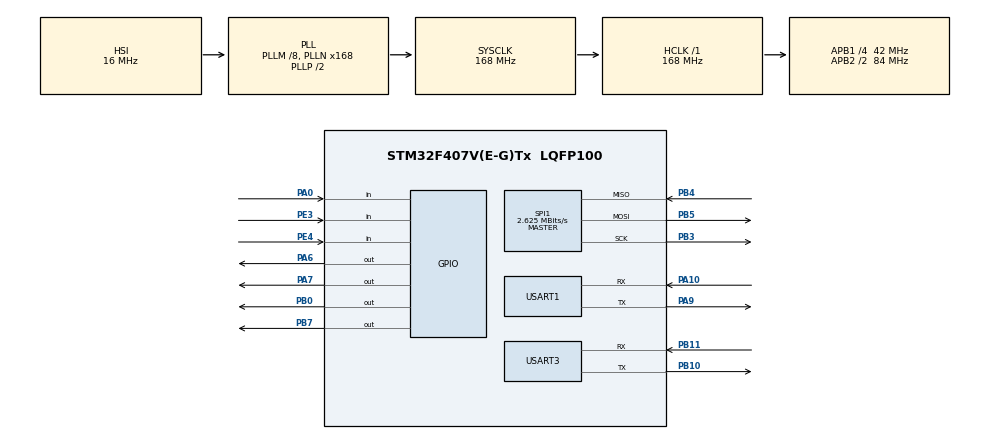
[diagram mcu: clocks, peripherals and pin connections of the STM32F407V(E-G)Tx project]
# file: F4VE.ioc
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Mcu.Family=STM32F4
Mcu.Name=STM32F407V(E-G)Tx
Mcu.Package=LQFP100
NVIC.PriorityGroup=NVIC_PRIORITYGROUP_4
NVIC.SPI1_IRQn=true\:0\:0\:false\:false\:true\:true\:true
PA0-WKUP.Signal=GPIO_Input
PA10.Mode=Asynchronous
PA10.Signal=USART1_RX
PA6.Signal=GPIO_Output
PA7.Signal=GPIO_Output
PA9.Mode=Asynchronous
PA9.Signal=USART1_TX
PB0.Signal=GPIO_Output
PB10.Mode=Asynchronous
PB10.Signal=USART3_TX
PB11.Mode=Asynchronous
PB11.Signal=USART3_RX
PB3.Mode=Full_Duplex_Master
PB3.Signal=SPI1_SCK
PB4.Mode=Full_Duplex_Master
PB4.Signal=SPI1_MISO
PB5.Mode=Full_Duplex_Master
PB5.Signal=SPI1_MOSI
PB7.Signal=GPIO_Output
PE3.GPIO_PuPd=GPIO_PULLUP
PE3.Signal=GPIO_Input
PE4.GPIO_PuPd=GPIO_PULLUP
PE4.Signal=GPIO_Input
ProjectManager.HeapSize=0x200
ProjectManager.StackSize=0x400
ProjectManager.TargetToolchain=STM32CubeIDE
RCC.48MHZClocksFreq_Value=84000000
RCC.AHBFreq_Value=168000000
RCC.APB1CLKDivider=RCC_HCLK_DIV4
RCC.APB1Freq_Value=42000000
RCC.APB1TimFreq_Value=84000000
RCC.APB2CLKDivider=RCC_HCLK_DIV2
RCC.APB2Freq_Value=84000000
RCC.APB2TimFreq_Value=168000000
RCC.CortexFreq_Value=168000000
RCC.HCLKFreq_Value=168000000
RCC.HSE_VALUE=25000000
RCC.HSI_VALUE=16000000
RCC.LSE_VALUE=32768
RCC.PLLM=8
RCC.PLLN=168
RCC.SYSCLKFreq_VALUE=168000000
RCC.SYSCLKSource=RCC_SYSCLKSOURCE_PLLCLK
RCC.VCOOutputFreq_Value=336000000
SPI1.BaudRatePrescaler=SPI_BAUDRATEPRESCALER_32
SPI1.CalculateBaudRate=2.625 MBits/s
SPI1.Direction=SPI_DIRECTION_2LINES
SPI1.Mode=SPI_MODE_MASTER
SPI1.VirtualType=VM_MASTER
USART1.VirtualMode=VM_ASYNC
USART3.VirtualMode=VM_ASYNC
VP_RTC_VS_RTC_Activate.Mode=RTC_Enabled
VP_RTC_VS_RTC_Calendar.Mode=RTC_Calendar
board=custom

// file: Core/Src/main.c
/* USER CODE BEGIN Header */
/**
  ******************************************************************************
  * @file           : main.c
  * @brief          : Main program body
  ******************************************************************************
  * @attention
  *
  * Copyright (c) 2024 STMicroelectronics.
  * All rights reserved.
  *
  * This software is licensed under terms that can be found in the LICENSE file
  * in the root directory of this software component.
  * If no LICENSE file comes with this software, it is provided AS-IS.
  *
  ******************************************************************************
  */
/* USER CODE END Header */
#include <w25q40.h>
#include "main.h"

/* USER CODE BEGIN Includes */
#include "gpio.h"
#include "string.h"
#include "stdio.h"

#include "../../Drivers/data_flash/flash.h"
/* USER CODE END Includes */

RTC_HandleTypeDef hrtc;

SPI_HandleTypeDef hspi1;

UART_HandleTypeDef huart1;
UART_HandleTypeDef huart3;

/* USER CODE BEGIN PV */
jedec_id_t info;
uint8_t status_register_1;
uint32_t Timeout = 10;

uint8_t tx_buffer[100] = {0};
uint8_t rx_buffer[100] = {0};
/* USER CODE END PV */

void SystemClock_Config(void);
static void MX_GPIO_Init(void);
static void MX_SPI1_Init(void);
static void MX_USART1_UART_Init(void);
static void MX_RTC_Init(void);
static void MX_USART3_UART_Init(void);
/* USER CODE BEGIN PFP */
int _write(char c)
{
	HAL_UART_Transmit(&huart3, (uint8_t *)c, sizeof(c), Timeout);
}
/* USER CODE END PFP */

int main(void)
{

  /* MCU Configuration--------------------------------------------------------*/

  /* Reset of all peripherals, Initializes the Flash interface and the Systick. */
  HAL_Init();

  /* Configure the system clock */
  SystemClock_Config();

  /* Initialize all configured peripherals */
  MX_GPIO_Init();
  MX_SPI1_Init();
  MX_USART1_UART_Init();
  MX_RTC_Init();
  MX_USART3_UART_Init();
  /* USER CODE BEGIN 2 */
  gpio_set_pinstate(ESP8266_EN, HIGH);
  /* USER CODE END 2 */

  /* Infinite loop */
  while (1)
  {

    /* USER CODE BEGIN 3 */
//	  memset(buffer, 0, sizeof(buffer));
//	  flash_read(0, buffer, 4);
	  printf("aaa\r\n/r/n");
	  gpio_set_pinstate(LED2, HIGH);
	  gpio_toggle(LED3);
	  HAL_Delay(1000);

//	  gpio_set_pinstate(LED3, HIGH);
//	  gpio_set_pinstate(LED3, gpio_get_pinstate(KEY0));

//	  HAL_GPIO_WritePin(GPIOA, GPIO_PIN_7, HAL_GPIO_ReadPin(GPIOE, GPIO_PIN_4));
//	  gpio_toggle(LED2);
//	  HAL_Delay(1000);

  }
  /* USER CODE END 3 */
}

void SystemClock_Config(void)
{
  RCC_OscInitTypeDef RCC_OscInitStruct = {0};
  RCC_ClkInitTypeDef RCC_ClkInitStruct = {0};

  /** Configure the main internal regulator output voltage
  */
  __HAL_RCC_PWR_CLK_ENABLE();
  __HAL_PWR_VOLTAGESCALING_CONFIG(PWR_REGULATOR_VOLTAGE_SCALE1);
  /** Initializes the RCC Oscillators according to the specified parameters
  * in the RCC_OscInitTypeDef structure.
  */
  RCC_OscInitStruct.OscillatorType = RCC_OSCILLATORTYPE_HSI|RCC_OSCILLATORTYPE_LSI;
  RCC_OscInitStruct.HSIState = RCC_HSI_ON;
  RCC_OscInitStruct.HSICalibrationValue = RCC_HSICALIBRATION_DEFAULT;
  RCC_OscInitStruct.LSIState = RCC_LSI_ON;
  RCC_OscInitStruct.PLL.PLLState = RCC_PLL_ON;
  RCC_OscInitStruct.PLL.PLLSource = RCC_PLLSOURCE_HSI;
  RCC_OscInitStruct.PLL.PLLM = 8;
  RCC_OscInitStruct.PLL.PLLN = 168;
  RCC_OscInitStruct.PLL.PLLP = RCC_PLLP_DIV2;
  RCC_OscInitStruct.PLL.PLLQ = 4;
  if (HAL_RCC_OscConfig(&RCC_OscInitStruct) != HAL_OK)
  {
    Error_Handler();
  }
  /** Initializes the CPU, AHB and APB buses clocks
  */
  RCC_ClkInitStruct.ClockType = RCC_CLOCKTYPE_HCLK|RCC_CLOCKTYPE_SYSCLK
                              |RCC_CLOCKTYPE_PCLK1|RCC_CLOCKTYPE_PCLK2;
  RCC_ClkInitStruct.SYSCLKSource = RCC_SYSCLKSOURCE_PLLCLK;
  RCC_ClkInitStruct.AHBCLKDivider = RCC_SYSCLK_DIV1;
  RCC_ClkInitStruct.APB1CLKDivider = RCC_HCLK_DIV4;
  RCC_ClkInitStruct.APB2CLKDivider = RCC_HCLK_DIV2;

  if (HAL_RCC_ClockConfig(&RCC_ClkInitStruct, FLASH_LATENCY_5) != HAL_OK)
  {
    Error_Handler();
  }
}

static void MX_RTC_Init(void)
{

  RTC_TimeTypeDef sTime = {0};
  RTC_DateTypeDef sDate = {0};

  /** Initialize RTC Only
  */
  hrtc.Instance = RTC;
  hrtc.Init.HourFormat = RTC_HOURFORMAT_24;
  hrtc.Init.AsynchPrediv = 127;
  hrtc.Init.SynchPrediv = 255;
  hrtc.Init.OutPut = RTC_OUTPUT_DISABLE;
  hrtc.Init.OutPutPolarity = RTC_OUTPUT_POLARITY_HIGH;
  hrtc.Init.OutPutType = RTC_OUTPUT_TYPE_OPENDRAIN;
  if (HAL_RTC_Init(&hrtc) != HAL_OK)
  {
    Error_Handler();
  }

  /** Initialize RTC and set the Time and Date
  */
  sTime.Hours = 0x0;
  sTime.Minutes = 0x0;
  sTime.Seconds = 0x0;
  sTime.DayLightSaving = RTC_DAYLIGHTSAVING_NONE;
  sTime.StoreOperation = RTC_STOREOPERATION_RESET;
  if (HAL_RTC_SetTime(&hrtc, &sTime, RTC_FORMAT_BCD) != HAL_OK)
  {
    Error_Handler();
  }
  sDate.WeekDay = RTC_WEEKDAY_MONDAY;
  sDate.Month = RTC_MONTH_JANUARY;
  sDate.Date = 0x1;
  sDate.Year = 0x0;

  if (HAL_RTC_SetDate(&hrtc, &sDate, RTC_FORMAT_BCD) != HAL_OK)
  {
    Error_Handler();
  }

}

static void MX_SPI1_Init(void)
{

  /* SPI1 parameter configuration*/
  hspi1.Instance = SPI1;
  hspi1.Init.Mode = SPI_MODE_MASTER;
  hspi1.Init.Direction = SPI_DIRECTION_2LINES;
  hspi1.Init.DataSize = SPI_DATASIZE_8BIT;
  hspi1.Init.CLKPolarity = SPI_POLARITY_LOW;
  hspi1.Init.CLKPhase = SPI_PHASE_1EDGE;
  hspi1.Init.NSS = SPI_NSS_SOFT;
  hspi1.Init.BaudRatePrescaler = SPI_BAUDRATEPRESCALER_32;
  hspi1.Init.FirstBit = SPI_FIRSTBIT_MSB;
  hspi1.Init.TIMode = SPI_TIMODE_DISABLE;
  hspi1.Init.CRCCalculation = SPI_CRCCALCULATION_DISABLE;
  hspi1.Init.CRCPolynomial = 10;
  if (HAL_SPI_Init(&hspi1) != HAL_OK)
  {
    Error_Handler();
  }

}

static void MX_USART1_UART_Init(void)
{

  huart1.Instance = USART1;
  huart1.Init.BaudRate = 115200;
  huart1.Init.WordLength = UART_WORDLENGTH_8B;
  huart1.Init.StopBits = UART_STOPBITS_1;
  huart1.Init.Parity = UART_PARITY_NONE;
  huart1.Init.Mode = UART_MODE_TX_RX;
  huart1.Init.HwFlowCtl = UART_HWCONTROL_NONE;
  huart1.Init.OverSampling = UART_OVERSAMPLING_16;
  if (HAL_UART_Init(&huart1) != HAL_OK)
  {
    Error_Handler();
  }

}

static void MX_USART3_UART_Init(void)
{

  huart3.Instance = USART3;
  huart3.Init.BaudRate = 115200;
  huart3.Init.WordLength = UART_WORDLENGTH_8B;
  huart3.Init.StopBits = UART_STOPBITS_1;
  huart3.Init.Parity = UART_PARITY_NONE;
  huart3.Init.Mode = UART_MODE_TX_RX;
  huart3.Init.HwFlowCtl = UART_HWCONTROL_NONE;
  huart3.Init.OverSampling = UART_OVERSAMPLING_16;
  if (HAL_UART_Init(&huart3) != HAL_OK)
  {
    Error_Handler();
  }

}

static void MX_GPIO_Init(void)
{
  GPIO_InitTypeDef GPIO_InitStruct = {0};

  /* GPIO Ports Clock Enable */
  __HAL_RCC_GPIOE_CLK_ENABLE();
  __HAL_RCC_GPIOA_CLK_ENABLE();
  __HAL_RCC_GPIOB_CLK_ENABLE();

  /*Configure GPIO pin Output Level */
  HAL_GPIO_WritePin(GPIOA, GPIO_PIN_6|GPIO_PIN_7, GPIO_PIN_RESET);

  /*Configure GPIO pin Output Level */
  HAL_GPIO_WritePin(GPIOB, GPIO_PIN_0|GPIO_PIN_7, GPIO_PIN_RESET);

  /*Configure GPIO pins : PE3 PE4 */
  GPIO_InitStruct.Pin = GPIO_PIN_3|GPIO_PIN_4;
  GPIO_InitStruct.Mode = GPIO_MODE_INPUT;
  GPIO_InitStruct.Pull = GPIO_PULLUP;
  HAL_GPIO_Init(GPIOE, &GPIO_InitStruct);

  /*Configure GPIO pin : PA0 */
  GPIO_InitStruct.Pin = GPIO_PIN_0;
  GPIO_InitStruct.Mode = GPIO_MODE_INPUT;
  GPIO_InitStruct.Pull = GPIO_NOPULL;
  HAL_GPIO_Init(GPIOA, &GPIO_InitStruct);

  /*Configure GPIO pins : PA6 PA7 */
  GPIO_InitStruct.Pin = GPIO_PIN_6|GPIO_PIN_7;
  GPIO_InitStruct.Mode = GPIO_MODE_OUTPUT_PP;
  GPIO_InitStruct.Pull = GPIO_NOPULL;
  GPIO_InitStruct.Speed = GPIO_SPEED_FREQ_LOW;
  HAL_GPIO_Init(GPIOA, &GPIO_InitStruct);

  /*Configure GPIO pins : PB0 PB7 */
  GPIO_InitStruct.Pin = GPIO_PIN_0|GPIO_PIN_7;
  GPIO_InitStruct.Mode = GPIO_MODE_OUTPUT_PP;
  GPIO_InitStruct.Pull = GPIO_NOPULL;
  GPIO_InitStruct.Speed = GPIO_SPEED_FREQ_LOW;
  HAL_GPIO_Init(GPIOB, &GPIO_InitStruct);

}

/* USER CODE BEGIN 4 */
void HAL_UART_RxCpltCallback(UART_HandleTypeDef *huart)
{
	HAL_UART_Receive_IT(&huart1, rx_buffer, 10);
}

void HAL_SPI_RxCpltCallback(SPI_HandleTypeDef *hspi)
{
	w25q_spi_callback();
}
/* USER CODE END 4 */

void Error_Handler(void)
{
  __disable_irq();
  while (1)
  {
  }
}
